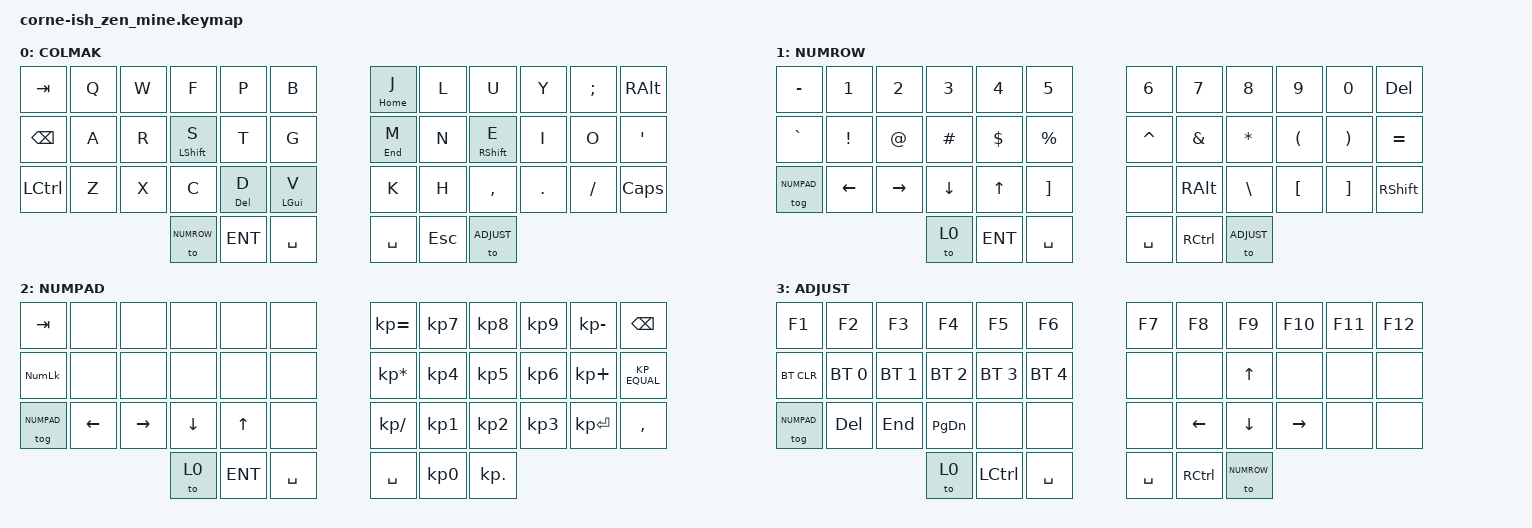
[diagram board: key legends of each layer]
/*
*
* Copyright (c) 2021 lowprokb.ca
* SPDX-License-Identifier: MIT
*
*/

#include <behaviors.dtsi>
#include <dt-bindings/zmk/keys.h>
#include <dt-bindings/zmk/bt.h>

/ {
    behaviors {
        hm: homerow_mods {
            compatible = "zmk,behavior-hold-tap";
            label = "HOMEROW_MODS";
            #binding-cells = <2>;
            tapping-term-ms = <150>;
            quick_tap_ms = <0>;
            flavor = "tap-preferred";
            bindings = <&kp>, <&kp>;
        };
    };

#define COLMAK 0
#define NUMROW 1
#define NUMPAD 3
#define ADJUST 2

/ {
        keymap {
                compatible = "zmk,keymap";

                default_layer {
                        label = "COLMAK";
                        bindings = <
   &kp TAB  &kp Q &kp W &kp F &kp P &kp B    	        &hm HOME J &kp L  &kp U        &kp Y   &kp SEMICOLON   &kp RALT
   &kp BKSP  &kp A &kp R &hm LSHFT S &kp T &kp G        &hm END M  &kp N  &hm RSHFT E  &kp I   &kp O           &kp QUOT
   &kp LCTRL &kp Z &kp X &kp C &hm DEL D &hm LGUI V     &kp K      &kp H  &kp CMMA     &kp DOT &kp FSLH        &kp CAPS
              &to NUMROW &kp ENT &kp SPC    		    &kp SPC &kp ESC &to ADJUST
                        >;
                };


                numrow_layer {
                        label = "NUMROW";
                        bindings = <
   &kp MINUS   &kp N1     &kp N2       &kp N3    &kp N4    &kp N5        &kp N6       &kp N7    &kp N8      &kp N9     &kp N0   &kp DEL
   &kp GRAVE   &kp EXCL   &kp AT_SIGN  &kp HASH  &kp DLLR  &kp PRCNT     &kp CARET    &kp AMPS  &kp ASTRK   &kp LPAR   &kp RPAR  &kp EQUAL
   &tog NUMPAD  &kp LEFT  &kp RIGHT    &kp DOWN  &kp UP    &kp RBKT      &none        &kp RALT  &kp BSLH    &kp LBKT   &kp RBKT    &kp RSHFT 
                          &to 0  &kp ENT &kp SPC   		    	        &kp SPC      &kp RCTRL   &to ADJUST
                        >;
                };

                numpad_layer {
                        label = "NUMPAD";
                        bindings = < 
   &kp TAB     &none     &none     &none     &none  &none          &kp KP_EQUAL     &kp KP_N7    &kp KP_N8 &kp KP_N9 &kp KP_MINUS &kp BSPC
   &kp KP_NLCK &none     &none     &none    &none  &none           &kp KP_ASTERISK  &kp KP_N4   &kp KP_N5  &kp KP_N6 &kp KP_PLUS  &KP_EQUAL
   &tog NUMPAD &kp LEFT  &kp RIGHT &kp DOWN  &kp UP &none    	 &kp KP_SLASH       &kp KP_N1   &kp KP_N2  &kp KP_N3 &kp KP_ENTER &kp CMMA
                               &to 0 &kp ENT &kp SPC 		    &kp SPC          &kp KP_N0 &kp KP_DOT
                        >;
                };

                adjust_layer {
                        label = "ADJUST";
                        bindings = <
   &kp F1      &kp F2  &kp F3   &kp F4    &kp F5 &kp F6                            &kp F7   &kp F8   &kp F9 &kp F10   &kp F11 &kp F12
   &bt BT_CLR &bt BT_SEL 0 &bt BT_SEL 1 &bt BT_SEL 2 &bt BT_SEL 3 &bt BT_SEL 4     &none 	 &none     &kp UP &none  &none   &none
   &tog NUMPAD &kp DEL &kp END  &kp PG_DN &none  &none                             &none    &kp LEFT    &kp DOWN  &kp RIGHT     &none   &none
                           &to 0 &kp LCTL &kp SPC                                  &kp SPC &kp RCTL  &to NUMROW
                        >;
                };

        };
};
